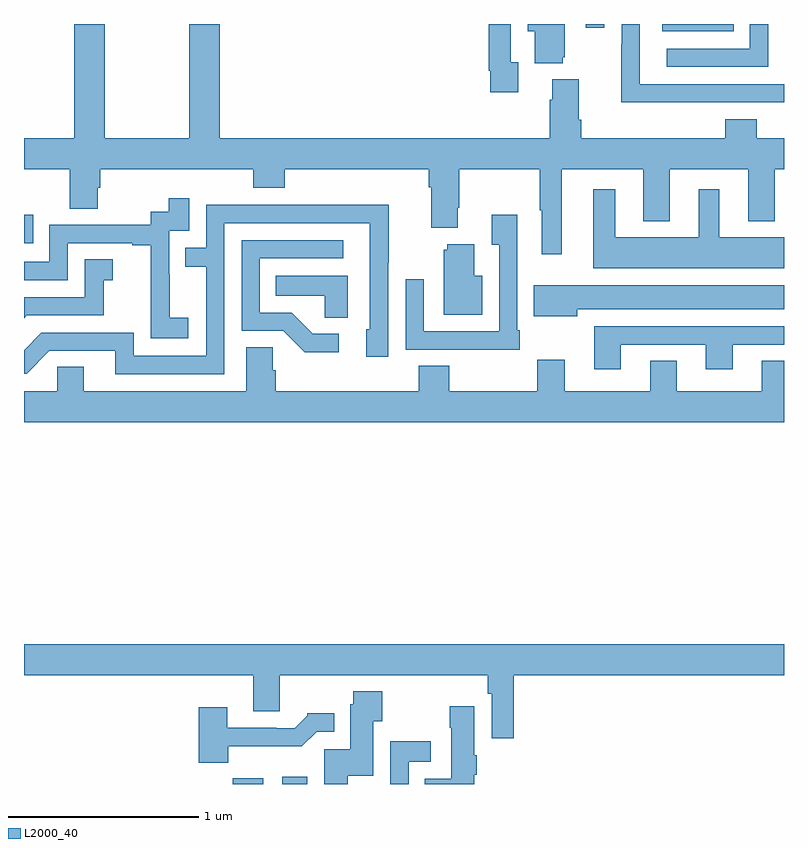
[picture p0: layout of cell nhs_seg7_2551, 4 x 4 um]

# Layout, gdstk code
import gdstk
lib = gdstk.Library(unit=1e-6, precision=1e-09)
def R(c, l, rs):  # rectangles x0, y0, x1, y1
    for r in rs: c.add(gdstk.rectangle(r[:2], r[2:], *l))
def P(c, l, *ps):  # polygons
    for p in ps: c.add(gdstk.Polygon(p, *l))
L2000_40 = (2000, 40)

nhs_seg7_2551 = lib.new_cell('nhs_seg7_2551')
R(nhs_seg7_2551, L2000_40, [(278.098,1044,278.26,1044.031), (278.36,1044,278.491,1044.037), (277,1046.847,277.049,1046.995), (280.358,1047.962,280.736,1048), (279.957,1047.981,280.053,1048)])
P(nhs_seg7_2551, L2000_40, [(279.836,1047.825),(279.847,1047.825),(279.847,1048),(279.65,1048),(279.65,1047.962),(279.689,1047.962),(279.689,1047.794),(279.836,1047.794)],
  [(280.917,1048),(280.821,1048),(280.821,1047.87),(280.383,1047.87),(280.383,1047.774),(280.917,1047.774)],
  [(279.829,1047.236),(280.259,1047.236),(280.259,1046.963),(280.399,1046.963),(280.399,1047.236),(280.811,1047.236),(280.811,1046.963),(280.951,1046.963),(280.951,1047.236),(281,1047.236),(281,1047.4),(280.856,1047.4),(280.856,1047.499),(280.691,1047.499),(280.691,1047.4),(279.932,1047.4),(279.932,1047.496),(279.919,1047.496),(279.919,1047.709),(279.779,1047.709),(279.779,1047.602),(279.767,1047.602),(279.767,1047.4),(278.03,1047.4),(278.03,1048),(277.87,1048),(277.87,1047.4),(277.425,1047.4),(277.425,1048),(277.265,1048),(277.265,1047.4),(277,1047.4),(277,1047.236),(277.24,1047.236),(277.24,1047.028),(277.387,1047.028),(277.387,1047.138),(277.4,1047.138),(277.4,1047.236),(278.207,1047.236),(278.207,1047.137),(278.372,1047.137),(278.372,1047.236),(279.131,1047.236),(279.131,1047.14),(279.143,1047.14),(279.143,1046.927),(279.283,1046.927),(279.283,1047.034),(279.291,1047.034),(279.291,1047.236),(279.715,1047.236),(279.715,1047.02),(279.725,1047.02),(279.725,1046.787),(279.829,1046.787)],
  [(279.601,1047.798),(279.561,1047.798),(279.561,1048),(279.445,1048),(279.445,1047.754),(279.453,1047.754),(279.453,1047.642),(279.601,1047.642)],
  [(280.607,1047.588),(281,1047.588),(281,1047.684),(280.242,1047.684),(280.242,1048),(280.146,1048),(280.146,1047.893),(280.144,1047.893),(280.144,1047.587),(280.607,1047.587)],
  [(281,1046.878),(280.66,1046.878),(280.66,1047.13),(280.55,1047.13),(280.55,1046.878),(280.111,1046.878),(280.111,1047.13),(279.995,1047.13),(279.995,1046.714),(281,1046.714)],
  [(277.864,1046.455),(277.766,1046.455),(277.766,1046.684),(277.764,1046.684),(277.764,1046.913),(277.869,1046.913),(277.869,1047.082),(277.761,1047.082),(277.761,1047.012),(277.668,1047.012),(277.668,1046.943),(277.134,1046.943),(277.134,1046.748),(277,1046.748),(277,1046.652),(277.23,1046.652),(277.23,1046.847),(277.571,1046.847),(277.571,1046.835),(277.667,1046.835),(277.667,1046.551),(277.666,1046.551),(277.666,1046.345),(277.864,1046.345)],
  [(278.055,1046.952),(278.82,1046.952),(278.82,1046.394),(278.801,1046.394),(278.801,1046.25),(278.916,1046.25),(278.916,1046.743),(278.919,1046.743),(278.919,1047.05),(278.455,1047.05),(278.455,1047.048),(277.959,1047.048),(277.959,1046.823),(277.849,1046.823),(277.849,1046.722),(277.959,1046.722),(277.959,1046.253),(277.578,1046.253),(277.578,1046.376),(277.092,1046.376),(277,1046.284),(277,1046.16),(277.014,1046.16),(277.134,1046.28),(277.481,1046.28),(277.481,1046.157),(278.055,1046.157)],
  [(279.61,1046.389),(279.597,1046.389),(279.597,1046.995),(279.461,1046.995),(279.461,1046.839),(279.501,1046.839),(279.501,1046.382),(279.105,1046.382),(279.105,1046.656),(279.009,1046.656),(279.009,1046.286),(279.325,1046.286),(279.325,1046.285),(279.61,1046.285)],
  [(278.656,1046.37),(278.521,1046.37),(278.41,1046.481),(278.241,1046.481),(278.241,1046.766),(278.68,1046.766),(278.68,1046.862),(278.145,1046.862),(278.145,1046.385),(278.364,1046.385),(278.477,1046.273),(278.656,1046.273)],
  [(279.412,1046.674),(279.37,1046.674),(279.37,1046.842),(279.227,1046.842),(279.227,1046.811),(279.209,1046.811),(279.209,1046.471),(279.412,1046.471)],
  [(277.015,1046.466),(277.419,1046.466),(277.419,1046.651),(277.468,1046.651),(277.468,1046.761),(277.32,1046.761),(277.32,1046.562),(277,1046.562),(277,1046.451)],
  [(278.704,1046.674),(278.326,1046.674),(278.326,1046.57),(278.583,1046.57),(278.583,1046.455),(278.704,1046.455)],
  [(279.913,1046.498),(281,1046.498),(281,1046.626),(279.684,1046.626),(279.684,1046.462),(279.913,1046.462)],
  [(280.141,1046.313),(280.589,1046.313),(280.589,1046.184),(280.729,1046.184),(280.729,1046.313),(281,1046.313),(281,1046.409),(280.001,1046.409),(280.001,1046.184),(280.141,1046.184)],
  [(281,1046.228),(280.883,1046.228),(280.883,1046.068),(280.435,1046.068),(280.435,1046.228),(280.295,1046.228),(280.295,1046.068),(279.847,1046.068),(279.847,1046.233),(279.7,1046.233),(279.7,1046.068),(279.237,1046.068),(279.237,1046.201),(279.077,1046.201),(279.077,1046.068),(278.324,1046.068),(278.324,1046.177),(278.31,1046.177),(278.31,1046.3),(278.171,1046.3),(278.171,1046.068),(277.315,1046.068),(277.315,1046.195),(277.176,1046.195),(277.176,1046.068),(277,1046.068),(277,1045.904),(281,1045.904)],
  [(279.578,1044.572),(281,1044.572),(281,1044.736),(277,1044.736),(277,1044.572),(278.207,1044.572),(278.207,1044.382),(278.347,1044.382),(278.347,1044.572),(279.442,1044.572),(279.442,1044.476),(279.462,1044.476),(279.462,1044.24),(279.578,1044.24)],
  [(278.704,1044.044),(278.839,1044.044),(278.839,1044.331),(278.886,1044.331),(278.886,1044.487),(278.734,1044.487),(278.734,1044.42),(278.717,1044.42),(278.717,1044.183),(278.579,1044.183),(278.579,1044),(278.704,1044)],
  [(279.37,1044.049),(279.383,1044.049),(279.383,1044.152),(279.37,1044.152),(279.37,1044.409),(279.241,1044.409),(279.241,1044.296),(279.248,1044.296),(279.248,1044.028),(279.109,1044.028),(279.109,1044),(279.37,1044)],
  [(278.074,1044.198),(278.463,1044.198),(278.541,1044.276),(278.632,1044.276),(278.632,1044.373),(278.49,1044.373),(278.49,1044.358),(278.426,1044.294),(278.327,1044.294),(278.327,1044.297),(278.071,1044.297),(278.071,1044.403),(277.919,1044.403),(277.919,1044.113),(278.074,1044.113)],
  [(279.024,1044.117),(279.142,1044.117),(279.142,1044.226),(278.928,1044.226),(278.928,1044),(279.024,1044)])

lib.write_gds('nhs_seg7_2551.gds')
